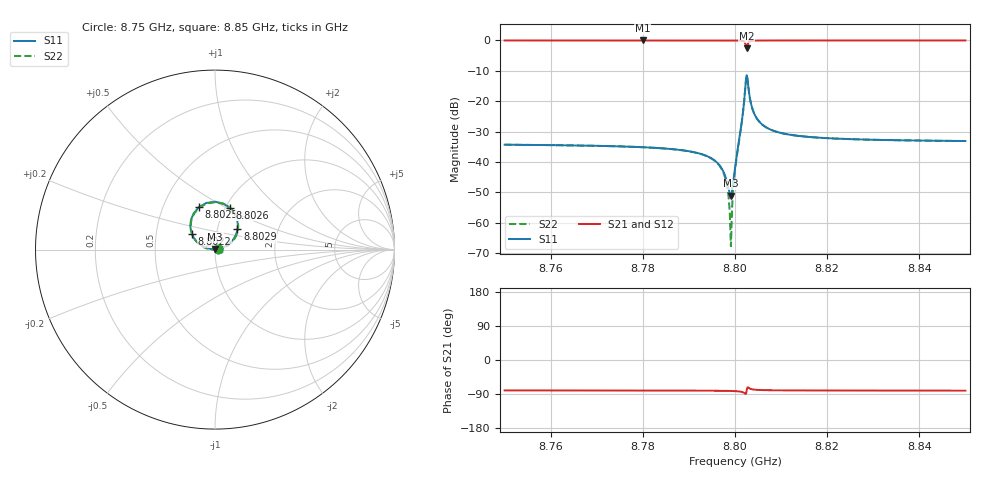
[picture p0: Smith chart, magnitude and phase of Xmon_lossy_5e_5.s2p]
! Sonnet Data File
! From: emgraph Version : 16.52
! From Emgraph Data: 171117_Xmon_lossySub
! Data File Written: 11/17/2017 13:54:06
!< HDATE 11/17/2017 11:10:36
!< MDATE 11/17/2017 11:10:36
!< PARAMS
!< Lj = 11.0
!< Gap = 6.0
!< Pwid = 2000.0
!< Width = 10.0
!< END PARAMS
# GHZ S MA R 50.90000
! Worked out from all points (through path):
!   2001 points, 8.75 GHz to 8.85 GHz, reference 50.9 ohm
!   highest |S21| = 0.00 dB at 8.78 GHz (marker M1); lowest = -2.6 dB at 8.8025 GHz (marker M2)
!   lowest |S11| = -51.2 dB at 8.7991 GHz (marker M3), VSWR 1.01, Z = 50.9 + j0.281 ohm
!   |S11| at or under -10 dB: start of sweep to end of sweep
!   |S22| runs from -67.8 to -11.5 dB; largest |S21 - S12| = 5.5e-12
!   S11 on the Smith chart (normalised r, x): 8.75 GHz: 1.04, +0.01; 8.8022 GHz: 0.76, +0.13; 8.8025 GHz: 0.75, +0.38; 8.8026 GHz: 1.05, +0.52; 8.8029 GHz: 1.25, +0.29; 8.85 GHz: 1.04, +0.01
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8.75  0.01918 15.1  0.9998 -80.2  0.9998 -80.2  0.01917 4.8
!< P1 F=8.75 Eeff=(6.44679774 -2.9728e-4) Z0=(51.7991716 0.00119473) R=0.0 C=0.0
!< P2 F=8.75 Eeff=(6.44679774 -2.9728e-4) Z0=(51.7991716 0.00119473) R=0.0 C=0.0
8.7667  0.01857 15.1  0.9998 -80.3  0.9998 -80.3  0.01856 4.5
8.77995  0.01743 15.3  0.9998 -80.5  0.9998 -80.5  0.01742 4.0
8.78335  0.01689 15.4  0.9998 -80.6  0.9998 -80.6  0.01687 3.8
8.79585  0.01014 20.2  0.9996 -81.1  0.9996 -81.1  0.01004 1.2
8.79785  0.005909 31.3  0.9993 -81.4  0.9993 -81.4  0.005547 -1.6
8.79835  0.00439 42.1  0.9992 -81.5  0.9992 -81.5  0.003758 -4.0
8.7988  0.003084 66.3  0.999 -81.6  0.999 -81.6  0.001756 -11.6
8.79905  0.002766 92.3  0.9988 -81.7  0.9988 -81.7  0.0005383 -47.1
8.79945  0.003825 135.4  0.9985 -81.8  0.9985 -81.8  0.002299 -169.0
8.8  0.008117 160.7  0.9978 -82.1  0.9978 -82.1  0.007221 -177.0
8.8014  0.04166 169.6  0.9887 -84.0  0.9887 -84.0  0.04086 173.0
8.8022  0.1544 146.1  0.9042 -89.0  0.9042 -89.0  0.1528 146.2
8.80245  0.2525 111.1  0.7566 -85.9  0.7566 -85.9  0.2502 110.5
8.8025  0.2642 100.8  0.7372 -82.5  0.7372 -82.5  0.2618 100.0
8.80265  0.248 70.7  0.7908 -73.3  0.7908 -73.3  0.246 69.5
8.8029  0.169 42.2  0.9189 -72.9  0.9189 -72.9  0.1678 40.5
8.80405  0.06558 18.8  0.9921 -78.0  0.9921 -78.0  0.0653 15.2
8.8061  0.04007 14.8  0.9981 -79.5  0.9981 -79.5  0.03998 9.4
8.8167  0.02549 13.8  0.9996 -80.4  0.9996 -80.4  0.02548 5.8
8.83335  0.02283 13.8  0.9997 -80.7  0.9997 -80.7  0.02283 4.9
8.85  0.02205 13.8  0.9997 -80.9  0.9997 -80.9  0.02204 4.6
